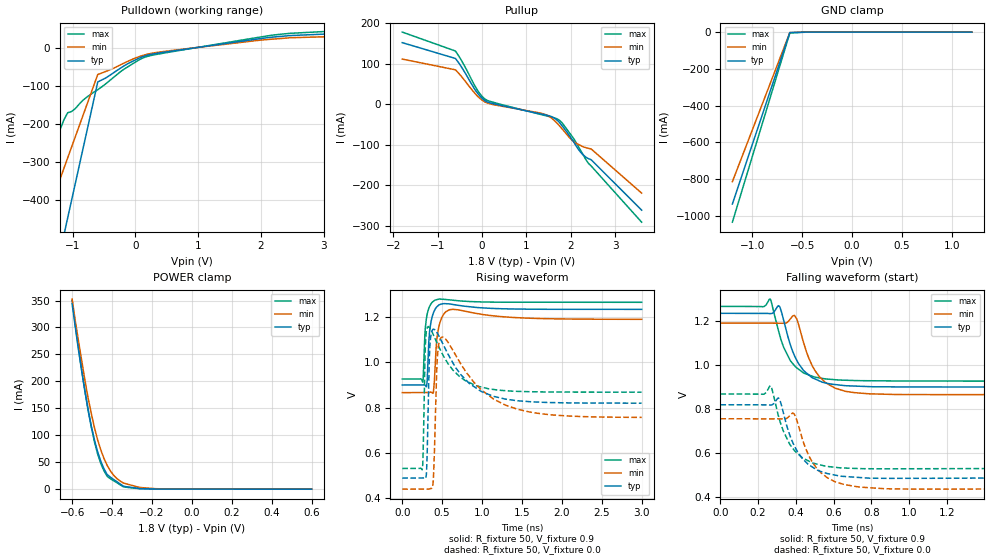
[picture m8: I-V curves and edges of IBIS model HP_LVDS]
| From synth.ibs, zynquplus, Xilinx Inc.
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[Model] HP_LVDS
Model_type I/O
Polarity   Non-Inverting
Enable   Active-Low
Vinl =   1.1500V
Vinh =   1.2500V
Vmeas =  1.2000V
Cref =   0.0000F
Rref =   50.0000
Vref =   1.2000V
C_comp   2.69373293702p   2.69341016229p   2.69529909352p
C_comp_pullup   808.119881107f   808.023048688f   808.589728055f
C_comp_pulldown   1.88561305592p   1.8853871136p   1.88670936546p
[Temperature Range]   25.0000   100.0000   0.0
[Voltage Range]   1.8000V   1.7100V   1.8900V
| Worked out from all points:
|   slope of the pulldown table from 0 to 0.27 V, typ, clamps not added: 17.6 ohm
|   slope of the pullup table from 0 to 0.27 V, typ, clamps not added: 20 ohm
|   GND clamp passes 1 mA (typ) near -0.51 V on its own axis
|   POWER clamp passes 1 mA (typ) near -0.25 V on its own axis
|   rising waveform, R_fixture 50, V_fixture 0.9: 20-80 % time 36.7ps typ, 37.7ps min, 34.9ps max; typ from 0.9 V to 1.23 V
|   rising waveform, R_fixture 50, V_fixture 0.0: 20-80 % time 13.3ps typ, 17.6ps min, 11.2ps max; typ from 0.489 V to 0.82 V
|   falling waveform, R_fixture 50, V_fixture 0.9: 20-80 % time 106ps typ, 111ps min, 99.1ps max; typ from 1.23 V to 0.9 V
|   falling waveform, R_fixture 50, V_fixture 0.0: 20-80 % time 116ps typ, 121ps min, 111ps max; typ from 0.82 V to 0.489 V
[Pulldown]
|Voltage   I(typ)   I(min)   I(max)
-1.8V     -982.5mA   -617.4mA   -1.461A
-1.5V     -759mA     -480.3mA   -634.7mA
-1.44V    -714.3mA   -452.8mA   -527.1mA
-1.38V    -669.6mA   -425.4mA   -419.4mA
-1.32V    -624.9mA   -398mA     -328mA
-1.2V     -535.5mA   -343.1mA   -213.3mA
-1.08V    -446.1mA   -288.3mA   -169.6mA
-600mV    -88.52mA   -68.86mA   -109mA
-180mV    -46.22mA   -38.86mA   -54.85mA
240mV     -16.44mA   -13.89mA   -19.39mA
2.22V     29.71mA    24.4mA     35.09mA
3.6V      41.35mA    32.89mA    48.93mA
[Pullup]
|Voltage   I(typ)   I(min)   I(max)
-1.8V     151.5mA    110.9mA    177.6mA
-600mV    112.4mA    84.48mA    130.8mA
-120mV    29.39mA    21.45mA    37mA
0V        14mA       9.746mA    18.98mA
120mV     5.07mA     2.419mA    8.732mA
1.38V     -25.75mA   -24.08mA   -27.25mA
1.56V     -30.7mA    -34.07mA   -32.09mA
1.74V     -44.62mA   -52.87mA   -39.54mA
2.04V     -89.14mA   -90.33mA   -81.05mA
2.22V     -118.7mA   -102.2mA   -113.8mA
2.46V     -137.3mA   -110.8mA   -152.7mA
3.6V      -261.8mA   -219.8mA   -291.5mA
[GND_clamp]
|Voltage   I(typ)   I(min)   I(max)
-1.2V     -935.2mA   -814.2mA   -1.034A
-624mV    -2.97mA    -2.471mA   -4.624mA
-304mV    -2.026uA   -22.92uA   -4.56uA
1.2V      345.9pA    5.209nA    519.8pA
[Power_clamp]
|Voltage   I(typ)   I(min)   I(max)
-600mV    343.8mA    352.7mA    350.3mA
-568mV    257.9mA    274.7mA    262mA
-552mV    219.4mA    238.6mA    220.7mA
-520mV    148.4mA    169.3mA    146.3mA
-504mV    117.2mA    140.7mA    115.6mA
-472mV    69.11mA    91.29mA    65.19mA
-456mV    51.34mA    72.53mA    47.4mA
-424mV    26.98mA    43.92mA    23.71mA
-392mV    18.09mA    25.87mA    15.68mA
-360mV    9.874mA    15.15mA    8.304mA
-264mV    1.243mA    3.387mA    917.1uA
600mV     289.7pA    672pA      86.87pA
[Ramp]
|variable   typ   min   max
dV/dt_r   0.3958/0.0252n   0.4034/0.0330n   0.3798/0.0207n
dV/dt_f   0.2046/0.0640n   0.1871/0.0916n   0.2151/0.0252n
R_load=50
[Rising Waveform]
R_fixture=50
V_fixture=0.9
V_fixture_min=0.855
V_fixture_max=0.945
|time   V(typ)   V(min)   V(max)
0s        900.2mV    866.5mV    926.6mV
257.5ps   900.5mV    866.6mV    912.6mV
280ps     901.4mV    866.6mV    1.101V
305ps     893.3mV    866.5mV    1.199V
342.5ps   1.136V     867.5mV    1.247V
390ps     1.218V     866.4mV    1.27V
430ps     1.245V     1.094V     1.277V
482.5ps   1.257V     1.187V     1.28V
632.5ps   1.256V     1.234V     1.275V
3ns       1.234V     1.19V      1.266V
[Rising Waveform]
R_fixture=50
V_fixture=0.0
0s        489.1mV    440.2mV    531.5mV
250ps     489.2mV    440.2mV    525.7mV
295ps     488.6mV    440.1mV    1.107V
312.5ps   596.1mV    440.1mV    1.152V
342.5ps   1.053V     441.4mV    1.153V
380ps     1.145V     448.5mV    1.13V
437.5ps   1.131V     1.009V     1.085V
500ps     1.088V     1.112V     1.038V
1.29ns    838.1mV    811.7mV    875.2mV
3ns       820mV      757.1mV    868.5mV
[Falling Waveform]
R_fixture=50
V_fixture=0.9
V_fixture_min=0.855
V_fixture_max=0.945
|time   V(typ)   V(min)   V(max)
0s        1.234V     1.19V      1.266V
230ps     1.234V     1.19V      1.265V
265ps     1.233V     1.19V      1.298V
315ps     1.263V     1.19V      1.132V
392.5ps   1.041V     1.224V     996.1mV
482.5ps   944.1mV    1.003V     950.1mV
555ps     918.9mV    921.2mV    936.9mV
662.5ps   906.1mV    880.8mV    930.9mV
932.5ps   900.6mV    866.1mV    927.7mV
3ns       900.2mV    866.4mV    926.7mV
[Falling Waveform]
R_fixture=50
V_fixture=0.0
0s        819.7mV    756.3mV    868.4mV
230ps     819.8mV    756.3mV    867.7mV
265ps     818.4mV    756.3mV    905.5mV
315ps     841.7mV    755.8mV    745.9mV
382.5ps   650mV      782.5mV    623mV
470ps     546.8mV    585.7mV    563.5mV
557.5ps   509.9mV    494.3mV    540.8mV
657.5ps   494.7mV    457.9mV    532.8mV
875ps     486.2mV    438.9mV    529.3mV
3ns       488.9mV    439.8mV    531.4mV
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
